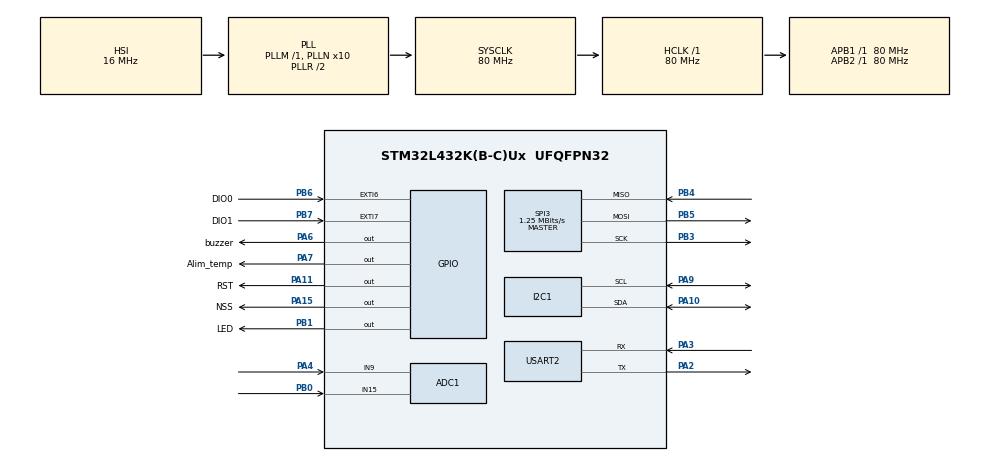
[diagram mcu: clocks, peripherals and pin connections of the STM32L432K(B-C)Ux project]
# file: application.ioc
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ADC1.Channel-0\#ChannelRegularConversion=ADC_CHANNEL_15
ADC1.Channel-1\#ChannelRegularConversion=ADC_CHANNEL_9
ADC1.ClockPrescaler=ADC_CLOCK_ASYNC_DIV16
ADC1.ExternalTrigConv=ADC_SOFTWARE_START
ADC1.NbrOfConversion=2
ADC1.NbrOfConversionFlag=1
ADC1.OffsetNumber-0\#ChannelRegularConversion=ADC_OFFSET_NONE
ADC1.OffsetNumber-1\#ChannelRegularConversion=ADC_OFFSET_NONE
ADC1.Rank-0\#ChannelRegularConversion=1
ADC1.Rank-1\#ChannelRegularConversion=2
ADC1.SamplingTime-0\#ChannelRegularConversion=ADC_SAMPLETIME_640CYCLES_5
ADC1.SamplingTime-1\#ChannelRegularConversion=ADC_SAMPLETIME_640CYCLES_5
ADC1.master=1
I2C1.Timing=0x10D19CE4
Mcu.Family=STM32L4
Mcu.Name=STM32L432K(B-C)Ux
Mcu.Package=UFQFPN32
NVIC.ADC1_IRQn=true\:0\:0\:false\:false\:true\:true\:true\:true
NVIC.EXTI9_5_IRQn=true\:0\:0\:false\:false\:true\:true\:true\:true
NVIC.PriorityGroup=NVIC_PRIORITYGROUP_4
NVIC.TIM6_DAC_IRQn=true\:0\:0\:false\:false\:true\:true\:true\:true
NVIC.TIM7_IRQn=true\:0\:0\:false\:false\:true\:true\:true\:true
PA10.Mode=I2C
PA10.Signal=I2C1_SDA
PA11.GPIO_Label=RST
PA11.Signal=GPIO_Output
PA13\ (JTMS-SWDIO).Mode=Serial_Wire
PA13\ (JTMS-SWDIO).Signal=SYS_JTMS-SWDIO
PA14\ (JTCK-SWCLK).Mode=Serial_Wire
PA14\ (JTCK-SWCLK).Signal=SYS_JTCK-SWCLK
PA15\ (JTDI).GPIO_Label=NSS
PA15\ (JTDI).Signal=GPIO_Output
PA2.Mode=Asynchronous
PA2.Signal=USART2_TX
PA3.Mode=Asynchronous
PA3.Signal=USART2_RX
PA4.Signal=ADCx_IN9
PA6.GPIO_Label=buzzer
PA6.GPIO_PuPd=GPIO_PULLDOWN
PA6.Signal=GPIO_Output
PA7.GPIO_Label=Alim_temp
PA7.Signal=GPIO_Output
PA9.Mode=I2C
PA9.Signal=I2C1_SCL
PB0.Signal=ADCx_IN15
PB1.GPIO_Label=LED
PB1.Signal=GPIO_Output
PB3\ (JTDO-TRACESWO).Mode=Full_Duplex_Master
PB3\ (JTDO-TRACESWO).Signal=SPI3_SCK
PB4\ (NJTRST).Mode=Full_Duplex_Master
PB4\ (NJTRST).Signal=SPI3_MISO
PB5.Mode=Full_Duplex_Master
PB5.Signal=SPI3_MOSI
PB6.GPIO_Label=DIO0
PB6.Signal=GPXTI6
PB7.GPIO_Label=DIO1
PB7.Signal=GPXTI7
PC14-OSC32_IN\ (PC14).Mode=LSE-External-Oscillator
PC14-OSC32_IN\ (PC14).Signal=RCC_OSC32_IN
PC15-OSC32_OUT\ (PC15).Mode=LSE-External-Oscillator
PC15-OSC32_OUT\ (PC15).Signal=RCC_OSC32_OUT
ProjectManager.HeapSize=0x200
ProjectManager.StackSize=0x400
ProjectManager.TargetToolchain=STM32CubeIDE
RCC.ADCFreq_Value=64000000
RCC.AHBFreq_Value=80000000
RCC.APB1Freq_Value=80000000
RCC.APB1TimFreq_Value=80000000
RCC.APB2Freq_Value=80000000
RCC.APB2TimFreq_Value=80000000
RCC.CortexFreq_Value=80000000
RCC.HCLKFreq_Value=80000000
RCC.HSE_VALUE=8000000
RCC.HSI48_VALUE=48000000
RCC.HSI_VALUE=16000000
RCC.MSI_VALUE=4000000
RCC.PLLN=10
RCC.PLLSourceVirtual=RCC_PLLSOURCE_HSI
RCC.SYSCLKFreq_VALUE=80000000
RCC.SYSCLKSource=RCC_SYSCLKSOURCE_PLLCLK
RCC.USBFreq_Value=64000000
RCC.VCOOutputFreq_Value=160000000
SH.ADCx_IN15.0=ADC1_IN15,IN15-Single-Ended
SH.ADCx_IN9.0=ADC1_IN9,IN9-Single-Ended
SPI3.BaudRatePrescaler=SPI_BAUDRATEPRESCALER_64
SPI3.CalculateBaudRate=1.25 MBits/s
SPI3.DataSize=SPI_DATASIZE_8BIT
SPI3.Direction=SPI_DIRECTION_2LINES
SPI3.Mode=SPI_MODE_MASTER
SPI3.VirtualType=VM_MASTER
TIM6.Period=65521-1
TIM6.Prescaler=1222-1
TIM7.Prescaler=2500-1
USART2.VirtualMode-Asynchronous=VM_ASYNC
VP_TIM6_VS_ClockSourceINT.Mode=Enable_Timer
VP_TIM7_VS_ClockSourceINT.Mode=Enable_Timer
board=custom

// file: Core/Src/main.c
/* USER CODE BEGIN Header */
/**
 ******************************************************************************
 * @file           : main.c
 * @brief          : Main program body
 ******************************************************************************
 * @attention
 *
 * Copyright (c) 2024 STMicroelectronics.
 * All rights reserved.
 *
 * This software is licensed under terms that can be found in the LICENSE file
 * in the root directory of this software component.
 * If no LICENSE file comes with this software, it is provided AS-IS.
 *
 ******************************************************************************
 */
/* USER CODE END Header */
#include "main.h"
#include "adc.h"
#include "i2c.h"
#include "spi.h"
#include "tim.h"
#include "usart.h"
#include "gpio.h"

/* USER CODE BEGIN Includes */
#include "lorabase.h"
#include "oslmic.h"
#include "lmic.h"
#include "debug.h"
#include "hal.h"
#include "bme68x_necessary_functions.h"
#include "cayenne_lpp.h"
/* USER CODE END Includes */

/* USER CODE BEGIN PV */
// application router ID (LSBF) < ------- IMPORTANT
static const u1_t APPEUI[8] = { 0x67, 0x09, 0x00, 0x00, 0x00, 0x5a, 0x55, 0xaa };
// static const u1_t APPEUI[8] = { 0xaa, 0x55, 0x5a, 0x00, 0x00, 0x00, 0x09, 0x67 };

// unique device ID (LSBF) < ------- IMPORTANT
static const u1_t DEVEUI[8] = { 0x8e, 0x3b, 0x00, 0xd8, 0x7e, 0xd5, 0xb3, 0x70 };
// static const u1_t DEVEUI[8] = { 0x8e, 0x3b, 0x00, 0xd8, 0x7e, 0xd5, 0xb3, 0x70 };

// device-specific AES key (derived from device EUI (MSBF))
static const u1_t DEVKEY[16] = { 0xe0, 0x3e, 0x13, 0x9e, 0x7e, 0xea, 0x2f, 0xb9,
		0x2c, 0x9f, 0xfb, 0x3b, 0x7d, 0x3e, 0xb6, 0xc3 };

uint32_t n_temp = 0;
uint32_t temp = 0;

uint16_t n_water = 0;
uint32_t water = 0;

struct bme68x_data data;

cayenne_lpp_t lpp_desc;
/* USER CODE END PV */

void SystemClock_Config(void);

/* USER CODE BEGIN 0 */
// provide application router ID (8 bytes, LSBF)
void os_getArtEui(u1_t *buf)
{
	memcpy(buf, APPEUI, 8);
}

// provide device ID (8 bytes, LSBF)
void os_getDevEui(u1_t *buf)
{
	memcpy(buf, DEVEUI, 8);
}

// provide device key (16 bytes)
void os_getDevKey(u1_t *buf)
{
	memcpy(buf, DEVKEY, 16);
}

void initsensor()
{
	// Here you init your sensors
	HAL_ADCEx_Calibration_Start(&hadc1, ADC_SINGLE_ENDED);
}

void initsensor_bme()
{
	// Here you init your sensors
	bme68x_start(&data, &hi2c1);
}

void initfunc(osjob_t *j)
{
	// initialize sensor hardware
	initsensor();
	initsensor_bme();
	// reset MAC state
	LMIC_reset();
	// start joining
	LMIC_startJoining();
	// init done - onEvent() callback will be invoked...
}

u2_t readsensor()
{
	u2_t value = temp; /// read from everything ...make your own sensor
	return value;
}

void readsensor_bme()
{
	if (bme68x_single_measure(&data) == 0) {
		// Measurement is successful, so continue with IAQ
		data.iaq_score = bme68x_iaq(); // Calculate IAQ
	} /// read from everything ...make your own sensor
}

static osjob_t reportjob;
// report sensor value every minute
static void reportfunc(osjob_t *j)
{
	// read sensor
	u2_t val = readsensor();
	debug_valdec("val = ", val);
	// prepare and schedule data for transmission
	LMIC.frame[0] = 0;
	LMIC.frame[1] = 0x67;
	val /= 100;
	// val /= 100;
	LMIC.frame[2] = val >> 8;
	LMIC.frame[3] = val;
	// La fonction LMIC_setTxData2 envoie
	LMIC_setTxData2(1, LMIC.frame, 4, 0);
	// la trame Lora : LMIC.frame
	// (port 1, 2 bytes, unconfirmed)
	// reschedule job in 15 seconds
	os_setTimedCallback(j, os_getTime() + sec2osticks(15), reportfunc);
}

static osjob_t reportjob_bme;
// report bme sensor value every minute
static void reportfunc_bme(osjob_t *j)
{
	// read sensor
	readsensor_bme();

	debug_valfloat("T = ", data.temperature, 7);
	debug_valdec("IAQ = ", data.iaq_score);
	debug_valfloat("h = ", data.humidity, 7);
	debug_valdec("w = ", n_water);
	// prepare and schedule data for transmission
	cayenne_lpp_reset(&lpp_desc);
	cayenne_lpp_add_temperature(&lpp_desc, 0, data.temperature);
	cayenne_lpp_add_analog_output(&lpp_desc, 1, data.iaq_score);
	cayenne_lpp_add_analog_output(&lpp_desc, 2, data.humidity);
	cayenne_lpp_add_analog_output(&lpp_desc, 3, n_water / 10);
	// La fonction LMIC_setTxData2 envoie
	LMIC_setTxData2(1, &lpp_desc, 4 * 4, 0);
	// la trame Lora : lpp_desc
	// (port 1, 2 bytes, unconfirmed)
	// reschedule job in 15 seconds
	os_setTimedCallback(j, os_getTime() + sec2osticks(15), reportfunc_bme);
}

// counter
static int cnt = 0;
static osjob_t hellojob;
static void hellofunc(osjob_t *j)
{
	// say hello
	debug_str("Hello World!\r\n");
	// log counter
	debug_val("cnt = ", cnt);
	// toggle LED
	debug_led(++cnt & 1);
	// reschedule job every second
	os_setTimedCallback(j, os_getTime() + sec2osticks(1), hellofunc);
}

static osjob_t blinkjob;
static u1_t ledstate = 0;
static void blinkfunc(osjob_t *j)
{
	// toggle LED
	ledstate = !ledstate;
	debug_led(ledstate);
	// reschedule blink job
	os_setTimedCallback(j, os_getTime() + ms2osticks(100), blinkfunc);
}

//////////////////////////////////////////////////
// LMIC EVENT CALLBACK
//////////////////////////////////////////////////
void onEvent(ev_t ev)
{
	debug_event(ev);
	switch (ev) {
	// network joined, session established
	case EV_JOINING:
		debug_str("try joining\r\n");
		blinkfunc(&blinkjob);
		break;
	case EV_JOINED:
		// kick-off periodic sensor job
		os_clearCallback(&blinkjob);
		debug_led(1);
		// reportfunc(&reportjob);
		reportfunc_bme(&reportjob_bme);
		break;
	case EV_JOIN_FAILED:
		debug_str("join failed\r\n");
		break;
	case EV_SCAN_TIMEOUT:
		debug_str("EV_SCAN_TIMEOUT\r\n");
		break;
	case EV_BEACON_FOUND:
		debug_str("EV_BEACON_FOUND\r\n");
		break;
	case EV_BEACON_MISSED:
		debug_str("EV_BEACON_MISSED\r\n");
		break;
	case EV_BEACON_TRACKED:
		debug_str("EV_BEACON_TRACKED\r\n");
		break;
	case EV_RFU1:
		debug_str("EV_RFU1\r\n");
		break;
	case EV_REJOIN_FAILED:
		debug_str("EV_REJOIN_FAILED\r\n");
		break;
	case EV_TXCOMPLETE:
		debug_str("EV_TXCOMPLETE (includes waiting for RX windows)\r\n");
		if (LMIC.txrxFlags & TXRX_ACK)
			debug_str("Received ack\r\n");
		if (LMIC.dataLen) {
			debug_valdec("Received bytes of payload\r\n:", LMIC.dataLen);
			debug_val("Data = :", LMIC.frame[LMIC.dataBeg]);
			debug_led(LMIC.frame[LMIC.dataBeg]);
		}
		break;
	case EV_LOST_TSYNC:
		debug_str("EV_LOST_TSYNC\r\n");
		break;
	case EV_RESET:
		debug_str("EV_RESET\r\n");
		break;
	case EV_RXCOMPLETE:
		// data received in ping slot
		debug_str("EV_RXCOMPLETE\r\n");
		break;
	case EV_LINK_DEAD:
		debug_str("EV_LINK_DEAD\r\n");
		break;
	case EV_LINK_ALIVE:
		debug_str("EV_LINK_ALIVE\r\n");
		break;
	default:
		debug_str("Unknown event\r\n");
		break;
	}
}

/* USER CODE END 0 */

int main(void)
{

	/* MCU Configuration--------------------------------------------------------*/

	/* Reset of all peripherals, Initializes the Flash interface and the Systick. */
	HAL_Init();

	/* Configure the system clock */
	SystemClock_Config();

	/* Initialize all configured peripherals */
	MX_GPIO_Init();
	MX_SPI3_Init();
	MX_TIM7_Init();
	MX_ADC1_Init();
	MX_TIM6_Init();
	MX_I2C1_Init();
	MX_USART2_UART_Init();
	/* USER CODE BEGIN 2 */
	HAL_TIM_Base_Start_IT(&htim6);
	HAL_TIM_Base_Start_IT(&htim7);   // <----------- change to your setup
	__HAL_SPI_ENABLE(&hspi3);        // <----------- change to your setup
	HAL_GPIO_WritePin(Alim_temp_GPIO_Port, Alim_temp_Pin, GPIO_PIN_SET);
	HAL_GPIO_WritePin(buzzer_GPIO_Port, buzzer_Pin, GPIO_PIN_RESET);
	osjob_t initjob;
	// initialize runtime env
	os_init();
	// initialize debug library
	debug_init();
	// setup initial job
	os_setCallback(&initjob, initfunc);
	// execute scheduled jobs and events
	os_runloop();
	// (not reached)
	return 0;

	/* USER CODE END 2 */

	/* Infinite loop */
	while (1) {
	}

}

void SystemClock_Config(void)
{
	RCC_OscInitTypeDef RCC_OscInitStruct = { 0 };
	RCC_ClkInitTypeDef RCC_ClkInitStruct = { 0 };

	/** Configure the main internal regulator output voltage
	 */
	if (HAL_PWREx_ControlVoltageScaling(PWR_REGULATOR_VOLTAGE_SCALE1)
			!= HAL_OK) {
		Error_Handler();
	}

	/** Initializes the RCC Oscillators according to the specified parameters
	 * in the RCC_OscInitTypeDef structure.
	 */
	RCC_OscInitStruct.OscillatorType = RCC_OSCILLATORTYPE_HSI;
	RCC_OscInitStruct.HSIState = RCC_HSI_ON;
	RCC_OscInitStruct.HSICalibrationValue = RCC_HSICALIBRATION_DEFAULT;
	RCC_OscInitStruct.PLL.PLLState = RCC_PLL_ON;
	RCC_OscInitStruct.PLL.PLLSource = RCC_PLLSOURCE_HSI;
	RCC_OscInitStruct.PLL.PLLM = 1;
	RCC_OscInitStruct.PLL.PLLN = 10;
	RCC_OscInitStruct.PLL.PLLP = RCC_PLLP_DIV7;
	RCC_OscInitStruct.PLL.PLLQ = RCC_PLLQ_DIV2;
	RCC_OscInitStruct.PLL.PLLR = RCC_PLLR_DIV2;
	if (HAL_RCC_OscConfig(&RCC_OscInitStruct) != HAL_OK) {
		Error_Handler();
	}

	/** Initializes the CPU, AHB and APB buses clocks
	 */
	RCC_ClkInitStruct.ClockType = RCC_CLOCKTYPE_HCLK | RCC_CLOCKTYPE_SYSCLK
			| RCC_CLOCKTYPE_PCLK1 | RCC_CLOCKTYPE_PCLK2;
	RCC_ClkInitStruct.SYSCLKSource = RCC_SYSCLKSOURCE_PLLCLK;
	RCC_ClkInitStruct.AHBCLKDivider = RCC_SYSCLK_DIV1;
	RCC_ClkInitStruct.APB1CLKDivider = RCC_HCLK_DIV1;
	RCC_ClkInitStruct.APB2CLKDivider = RCC_HCLK_DIV1;

	if (HAL_RCC_ClockConfig(&RCC_ClkInitStruct, FLASH_LATENCY_4) != HAL_OK) {
		Error_Handler();
	}
}

/* USER CODE BEGIN 4 */
void HAL_TIM_PeriodElapsedCallback(TIM_HandleTypeDef *htim)
{
	if (htim == &htim6)
		HAL_ADC_Start_IT(&hadc1);
	if (htim->Instance == htim7.Instance)
		hal_ticksplusplus();
}

void HAL_ADC_ConvCpltCallback(ADC_HandleTypeDef *hadc)
{
	if (hadc == &hadc1) {
		static uint8_t conv_cnt = 0;
		if (conv_cnt == 0) {
			n_temp = HAL_ADC_GetValue(&hadc1);
			temp = 188686 - 147 * n_temp;
			conv_cnt++;
		} else if (conv_cnt == 1) {
			n_water = HAL_ADC_GetValue(&hadc1);
			//HAL_Delay(100);
			debug_valdec("w_debug = ", n_water);
			if (n_water < 600) {
				//debug_valdec("w_debug < 600 ", n_water);
				HAL_GPIO_WritePin(buzzer_GPIO_Port, buzzer_Pin, GPIO_PIN_SET);
			} else {
				HAL_GPIO_WritePin(buzzer_GPIO_Port, buzzer_Pin, GPIO_PIN_RESET);
			}
			conv_cnt--;
		}
	}
}
/* USER CODE END 4 */

void Error_Handler(void)
{
	__disable_irq();
	while (1) {
	}
}
